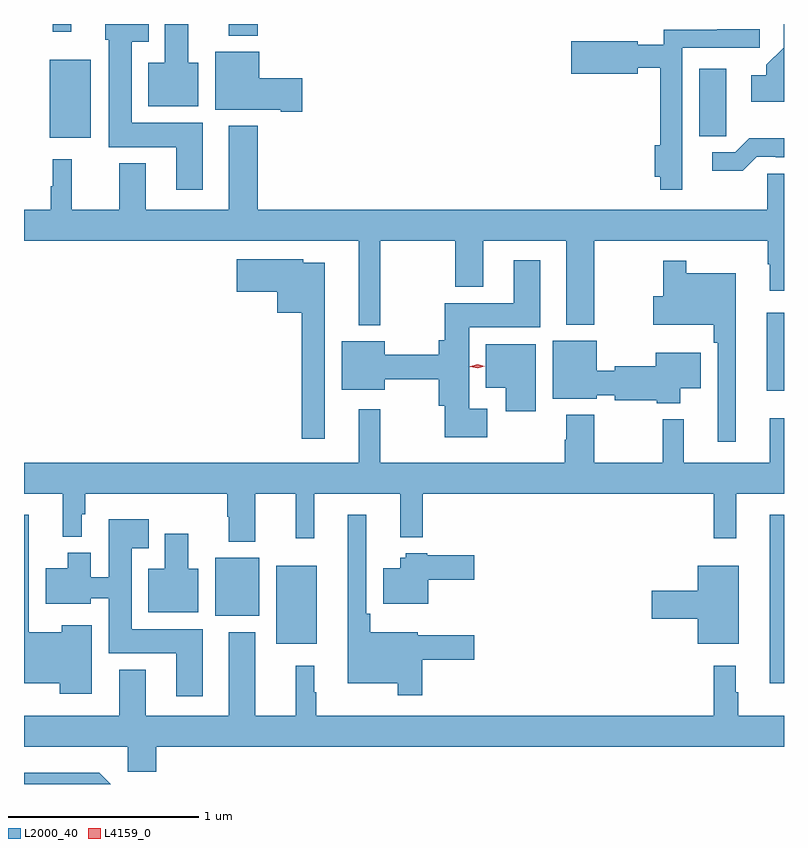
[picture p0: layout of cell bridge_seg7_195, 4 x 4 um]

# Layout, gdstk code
import gdstk
lib = gdstk.Library(unit=1e-6, precision=1e-09)
def R(c, l, rs):  # rectangles x0, y0, x1, y1
    for r in rs: c.add(gdstk.rectangle(r[:2], r[2:], *l))
def P(c, l, *ps):  # polygons
    for p in ps: c.add(gdstk.Polygon(p, *l))
L2000_40 = (2000, 40)
L4159_0 = (4159, 0)

bridge_seg7_195 = lib.new_cell('bridge_seg7_195')
R(bridge_seg7_195, L2000_40, [(426.584,1004.948,426.659,1005.835), (423.986,1005.155,424.201,1005.565), (423.665,1005.302,423.898,1005.607), (426.569,1006.487,426.659,1006.897), (422.795,1007.819,423.01,1008.229), (423.737,1008.356,423.89,1008.417), (422.81,1008.375,422.908,1008.417)])
P(bridge_seg7_195, L2000_40, [(423.577,1008.214),(423.523,1008.214),(423.523,1008.417),(423.401,1008.417),(423.401,1008.214),(423.314,1008.214),(423.314,1007.984),(423.577,1007.984)],
  [(423.601,1007.896),(423.226,1007.896),(423.226,1008.323),(423.316,1008.323),(423.316,1008.417),(423.086,1008.417),(423.086,1008.333),(423.104,1008.333),(423.104,1007.768),(423.461,1007.768),(423.461,1007.544),(423.601,1007.544)],
  [(426.659,1008.417),(426.657,1008.417),(426.657,1008.293),(426.566,1008.203),(426.566,1008.148),(426.486,1008.148),(426.486,1008.008),(426.659,1008.008)],
  [(426.124,1007.766),(426.123,1007.766),(426.123,1008.291),(426.532,1008.291),(426.532,1008.39),(426.307,1008.39),(426.307,1008.387),(426.026,1008.387),(426.026,1008.307),(425.89,1008.307),(425.89,1008.325),(425.538,1008.325),(425.538,1008.155),(425.89,1008.155),(425.89,1008.186),(426.007,1008.186),(426.007,1007.778),(425.978,1007.778),(425.978,1007.612),(426.007,1007.612),(426.007,1007.544),(426.124,1007.544)],
  [(424.123,1008.132),(423.898,1008.132),(423.898,1008.271),(423.665,1008.271),(423.665,1007.966),(424.01,1007.966),(424.01,1007.954),(424.123,1007.954)],
  [(426.354,1007.938),(426.355,1007.938),(426.355,1008.181),(426.212,1008.181),(426.212,1007.827),(426.354,1007.827)],
  [(424.535,1007.276),(424.93,1007.276),(424.93,1007.033),(425.077,1007.033),(425.077,1007.276),(425.513,1007.276),(425.513,1006.835),(425.661,1006.835),(425.661,1007.276),(426.573,1007.276),(426.573,1007.153),(426.584,1007.153),(426.584,1007.013),(426.659,1007.013),(426.659,1007.63),(426.57,1007.63),(426.57,1007.44),(423.89,1007.44),(423.89,1007.881),(423.737,1007.881),(423.737,1007.44),(423.301,1007.44),(423.301,1007.683),(423.161,1007.683),(423.161,1007.44),(422.91,1007.44),(422.91,1007.704),(422.81,1007.704),(422.81,1007.564),(422.799,1007.564),(422.799,1007.44),(422.659,1007.44),(422.659,1007.276),(424.421,1007.276),(424.421,1006.832),(424.535,1006.832)],
  [(426.516,1007.718),(426.616,1007.718),(426.616,1007.715),(426.659,1007.715),(426.659,1007.815),(426.475,1007.815),(426.402,1007.742),(426.282,1007.742),(426.282,1007.645),(426.443,1007.645)],
  [(424.243,1007.161),(424.128,1007.161),(424.128,1007.179),(423.78,1007.179),(423.78,1007.009),(423.992,1007.009),(423.992,1006.898),(424.122,1006.898),(424.122,1006.233),(424.243,1006.233)],
  [(425.098,1006.393),(425.002,1006.393),(425.002,1006.82),(425.377,1006.82),(425.377,1007.173),(425.237,1007.173),(425.237,1006.948),(424.873,1006.948),(424.873,1006.753),(424.841,1006.753),(424.841,1006.676),(424.558,1006.676),(424.558,1006.747),(424.331,1006.747),(424.331,1006.493),(424.558,1006.493),(424.558,1006.548),(424.841,1006.548),(424.841,1006.409),(424.873,1006.409),(424.873,1006.241),(425.098,1006.241)],
  [(426.406,1007.104),(426.145,1007.104),(426.145,1007.17),(426.024,1007.17),(426.024,1006.983),(425.972,1006.983),(425.972,1006.835),(426.289,1006.835),(426.289,1006.739),(426.309,1006.739),(426.309,1006.218),(426.406,1006.218)],
  [(426.112,1006.499),(426.22,1006.499),(426.22,1006.687),(425.984,1006.687),(425.984,1006.616),(425.768,1006.616),(425.768,1006.592),(425.674,1006.592),(425.674,1006.75),(425.441,1006.75),(425.441,1006.445),(425.674,1006.445),(425.674,1006.464),(425.768,1006.464),(425.768,1006.438),(425.988,1006.438),(425.988,1006.421),(426.112,1006.421)],
  [(425.353,1006.732),(425.09,1006.732),(425.09,1006.502),(425.195,1006.502),(425.195,1006.38),(425.353,1006.38)],
  [(426.131,1006.336),(426.021,1006.336),(426.021,1006.108),(425.661,1006.108),(425.661,1006.36),(425.513,1006.36),(425.513,1006.229),(425.506,1006.229),(425.506,1006.108),(424.535,1006.108),(424.535,1006.39),(424.421,1006.39),(424.421,1006.108),(422.659,1006.108),(422.659,1005.944),(422.864,1005.944),(422.864,1005.719),(422.962,1005.719),(422.962,1005.837),(422.981,1005.837),(422.981,1005.944),(423.73,1005.944),(423.73,1005.824),(423.737,1005.824),(423.737,1005.692),(423.877,1005.692),(423.877,1005.944),(424.088,1005.944),(424.088,1005.711),(424.187,1005.711),(424.187,1005.944),(424.64,1005.944),(424.64,1005.716),(424.757,1005.716),(424.757,1005.944),(426.289,1005.944),(426.289,1005.711),(426.407,1005.711),(426.407,1005.944),(426.659,1005.944),(426.659,1006.342),(426.584,1006.342),(426.584,1006.108),(426.131,1006.108)],
  [(423.016,1005.253),(422.858,1005.253),(422.858,1005.217),(422.685,1005.217),(422.685,1005.835),(422.659,1005.835),(422.659,1004.948),(422.846,1004.948),(422.846,1004.891),(423.016,1004.891)],
  [(424.754,1005.07),(425.029,1005.07),(425.029,1005.199),(424.731,1005.199),(424.731,1005.217),(424.481,1005.217),(424.481,1005.313),(424.461,1005.313),(424.461,1005.835),(424.364,1005.835),(424.364,1004.948),(424.626,1004.948),(424.626,1004.883),(424.754,1004.883)],
  [(423.601,1005.232),(423.226,1005.232),(423.226,1005.659),(423.316,1005.659),(423.316,1005.811),(423.104,1005.811),(423.104,1005.505),(423.01,1005.505),(423.01,1005.634),(422.888,1005.634),(422.888,1005.553),(422.774,1005.553),(422.774,1005.365),(423.01,1005.365),(423.01,1005.395),(423.104,1005.395),(423.104,1005.104),(423.461,1005.104),(423.461,1004.88),(423.601,1004.88)],
  [(423.577,1005.55),(423.523,1005.55),(423.523,1005.733),(423.401,1005.733),(423.401,1005.55),(423.314,1005.55),(423.314,1005.32),(423.577,1005.32)],
  [(424.786,1005.491),(425.029,1005.491),(425.029,1005.621),(424.782,1005.621),(424.782,1005.631),(424.668,1005.631),(424.668,1005.609),(424.64,1005.609),(424.64,1005.553),(424.55,1005.553),(424.55,1005.365),(424.786,1005.365)],
  [(426.421,1005.565),(426.206,1005.565),(426.206,1005.434),(425.964,1005.434),(425.964,1005.287),(426.206,1005.287),(426.206,1005.155),(426.421,1005.155)],
  [(423.161,1005.019),(423.161,1004.776),(422.659,1004.776),(422.659,1004.612),(423.204,1004.612),(423.204,1004.481),(423.356,1004.481),(423.356,1004.612),(426.659,1004.612),(426.659,1004.776),(426.418,1004.776),(426.418,1004.9),(426.406,1004.9),(426.406,1005.04),(426.289,1005.04),(426.289,1004.776),(424.198,1004.776),(424.198,1004.9),(424.186,1004.9),(424.186,1005.04),(424.088,1005.04),(424.088,1004.776),(423.877,1004.776),(423.877,1005.217),(423.737,1005.217),(423.737,1004.776),(423.301,1004.776),(423.301,1005.019)],
  [(423.056,1004.476),(422.659,1004.476),(422.659,1004.417),(423.115,1004.417)])
P(bridge_seg7_195, L4159_0, [(425.046,1006.605),(425.007,1006.614),(425.006,1006.614),(425.007,1006.615),(425.046,1006.625),(425.085,1006.615),(425.085,1006.615),(425.085,1006.615)])

lib.write_gds('bridge_seg7_195.gds')
